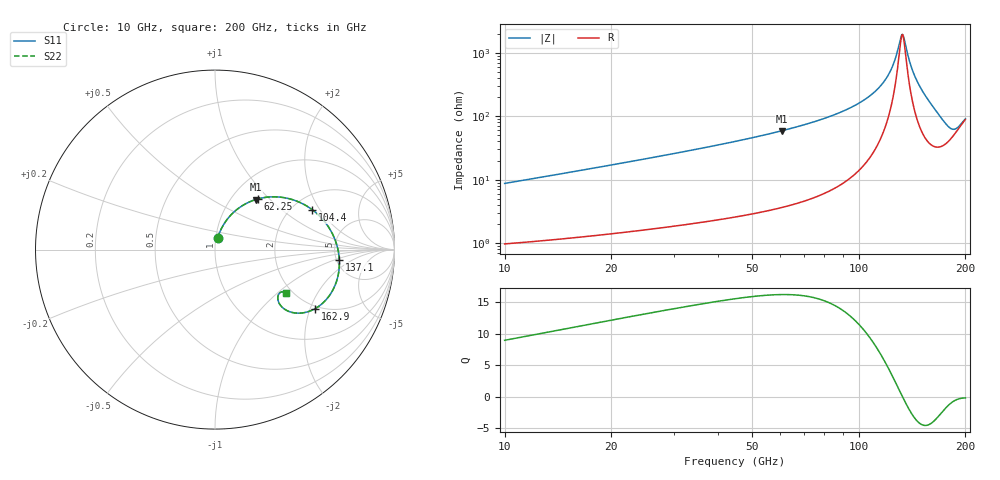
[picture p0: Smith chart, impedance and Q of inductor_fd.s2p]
! TOUCHSTONE file generated by CST MICROWAVE STUDIO
! Date and time: Tue Sep 15 11:43:22 2026
! Project name: inductor_fd.cst
! Header version: 2024
! Port assignment regex: !\s*Touchstone port\s*([0-9]+)\s*=\s*(CST MWS port|CST DES external port|CST DES block port)\s*(.+)\s* \(\"(.*)\"\)(\s*mode\s*([0-9]+))?.*
! Touchstone port assignment:
! Touchstone port 1 = CST MWS port 1 ("P1")
! Touchstone port 2 = CST MWS port 2 ("P2")
# GHz S MA R 50
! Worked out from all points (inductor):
!   1002 points, 10 GHz to 200 GHz, reference 50 ohm
!   read as 1/Y11, port 2 shorted: L = 133 pH near 10.95 GHz
!   highest Q = 16.3 at 60.54 GHz (marker M1), where L = 155 pH
!   self-resonance near 132.8 GHz
!   S11 on the Smith chart (normalised r, x): 10 GHz: 1.02, +0.13; 62.25 GHz: 1.31, +0.85; 104.4 GHz: 2.54, +1.72; 137.1 GHz: 5.30, -1.13; 162.9 GHz: 1.91, -2.16; 200 GHz: 1.85, -1.14
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10  0.06634 76.6  0.9874 -6.0  0.9874 -6.0  0.06634 76.6
16.08  0.1029 74.5  0.9819 -9.5  0.9819 -9.5  0.1029 74.5
22.73  0.1424 71.5  0.9746 -13.3  0.9746 -13.3  0.1423 71.5
31.28  0.1923 67.1  0.9632 -18.1  0.9632 -18.1  0.1923 67.1
41.73  0.2524 61.6  0.9463 -24.2  0.9463 -24.2  0.2524 61.6
60.54  0.3588 50.9  0.9069 -35.4  0.9069 -35.4  0.3588 50.9
62.25  0.3684 49.9  0.9028 -36.4  0.9028 -36.4  0.3684 49.9
73.46  0.4301 43.1  0.8729 -43.5  0.8729 -43.5  0.4301 43.1
89.42  0.5142 32.7  0.8229 -54.2  0.8229 -54.2  0.5142 32.7
104.43  0.5864 22.2  0.7695 -65.1  0.7695 -65.1  0.5864 22.2
105  0.589 21.8  0.7673 -65.5  0.7673 -65.5  0.589 21.8
122.67  0.6587 8.0  0.7016 -79.9  0.7016 -79.9  0.6587 8.0
136.73  0.6942 -4.2  0.6547 -93.2  0.6547 -93.2  0.6942 -4.2
137.11  0.6948 -4.6  0.6536 -93.6  0.6536 -93.6  0.6948 -4.6
150.41  0.6966 -17.5  0.623 -109.2  0.623 -109.2  0.6966 -17.5
162.95  0.6471 -30.6  0.6113 -128.7  0.6113 -128.7  0.6471 -30.6
168.46  0.6028 -35.8  0.6089 -139.5  0.6089 -139.5  0.6028 -35.8
176.44  0.5192 -40.4  0.5994 -157.5  0.5994 -157.5  0.5192 -40.4
182.9  0.4583 -39.5  0.5793 -173.5  0.5793 -173.5  0.4583 -39.5
187.08  0.4372 -36.7  0.5603 176.1  0.5603 176.1  0.4372 -36.7
191.83  0.4349 -33.4  0.5358 164.9  0.5358 164.9  0.4349 -33.4
200  0.4635 -31.5  0.4969 147.7  0.4969 147.7  0.4635 -31.5
